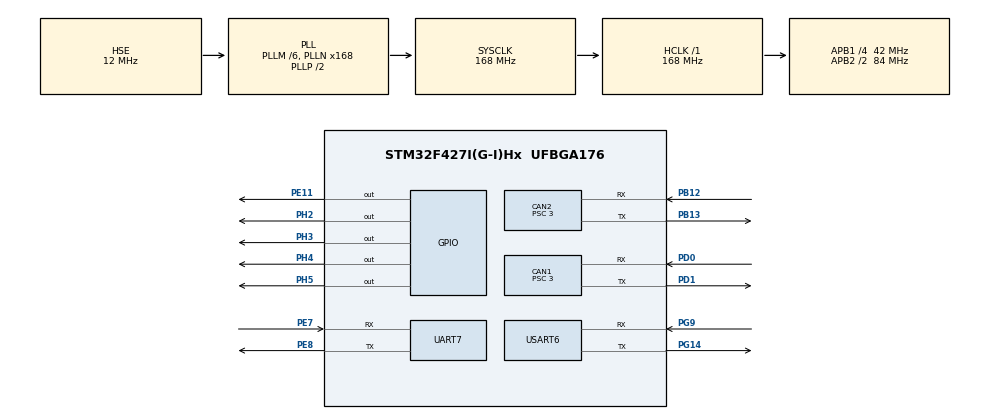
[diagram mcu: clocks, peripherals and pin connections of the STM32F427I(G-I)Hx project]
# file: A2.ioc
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CAN1.BS1=CAN_BS1_6TQ
CAN1.BS2=CAN_BS2_7TQ
CAN1.CalculateBaudRate=1000000
CAN1.CalculateTimeBit=999.99
CAN1.CalculateTimeQuantum=71.42857142857143
CAN1.Prescaler=3
CAN2.BS1=CAN_BS1_6TQ
CAN2.BS2=CAN_BS2_7TQ
CAN2.CalculateBaudRate=1000000
CAN2.CalculateTimeBit=999.99
CAN2.CalculateTimeQuantum=71.42857142857143
CAN2.Prescaler=3
FREERTOS.INCLUDE_vTaskDelayUntil=1
FREERTOS.Tasks01=State_Switch,3,128,task_state_switch,Default,NULL,Dynamic,NULL,NULL;Tarangle_Switch,2,128,task_tarangle_switch,Default,NULL,Dynamic,NULL,NULL;Data,2,128,task_process_transmit,Default,NULL,Dynamic,NULL,NULL
Mcu.Family=STM32F4
Mcu.Name=STM32F427I(G-I)Hx
Mcu.Package=UFBGA176
NVIC.CAN1_RX0_IRQn=true\:5\:0\:false\:false\:true\:true\:true\:true
NVIC.CAN1_TX_IRQn=true\:5\:0\:false\:false\:true\:true\:true\:true
NVIC.CAN2_RX0_IRQn=true\:5\:0\:false\:false\:true\:true\:true\:true
NVIC.CAN2_TX_IRQn=true\:5\:0\:false\:false\:true\:true\:true\:true
NVIC.PriorityGroup=NVIC_PRIORITYGROUP_4
NVIC.TIM6_DAC_IRQn=true\:15\:0\:false\:false\:true\:false\:false\:true
NVIC.TimeBase=TIM6_DAC_IRQn
NVIC.TimeBaseIP=TIM6
NVIC.UART7_IRQn=true\:5\:0\:false\:false\:true\:true\:true\:true
NVIC.USART6_IRQn=true\:6\:0\:true\:false\:true\:true\:true\:true
PA13.Mode=JTAG_5_pins
PA13.Signal=SYS_JTMS-SWDIO
PA14.Mode=JTAG_5_pins
PA14.Signal=SYS_JTCK-SWCLK
PA15.Mode=JTAG_5_pins
PA15.Signal=SYS_JTDI
PB12.Mode=CAN_Activate
PB12.Signal=CAN2_RX
PB13.Mode=CAN_Activate
PB13.Signal=CAN2_TX
PB3.Mode=JTAG_5_pins
PB3.Signal=SYS_JTDO-SWO
PB4.Mode=JTAG_5_pins
PB4.Signal=SYS_JTRST
PD0.Mode=CAN_Activate
PD0.Signal=CAN1_RX
PD1.Mode=CAN_Activate
PD1.Signal=CAN1_TX
PE11.Signal=GPIO_Output
PE7.Mode=Asynchronous
PE7.Signal=UART7_RX
PE8.Mode=Asynchronous
PE8.Signal=UART7_TX
PG14.Mode=Asynchronous
PG14.Signal=USART6_TX
PG9.Mode=Asynchronous
PG9.Signal=USART6_RX
PH0/OSC_IN.Mode=HSE-External-Oscillator
PH0/OSC_IN.Signal=RCC_OSC_IN
PH1/OSC_OUT.Mode=HSE-External-Oscillator
PH1/OSC_OUT.Signal=RCC_OSC_OUT
PH2.GPIO_PuPd=GPIO_PULLUP
PH2.PinState=GPIO_PIN_SET
PH2.Signal=GPIO_Output
PH3.GPIO_PuPd=GPIO_PULLUP
PH3.PinState=GPIO_PIN_SET
PH3.Signal=GPIO_Output
PH4.GPIO_PuPd=GPIO_PULLUP
PH4.PinState=GPIO_PIN_SET
PH4.Signal=GPIO_Output
PH5.GPIO_PuPd=GPIO_PULLUP
PH5.PinState=GPIO_PIN_SET
PH5.Signal=GPIO_Output
ProjectManager.HeapSize=0x200
ProjectManager.StackSize=0x400
ProjectManager.TargetToolchain=MDK-ARM V5.32
RCC.48MHZClocksFreq_Value=84000000
RCC.AHBFreq_Value=168000000
RCC.APB1CLKDivider=RCC_HCLK_DIV4
RCC.APB1Freq_Value=42000000
RCC.APB1TimFreq_Value=84000000
RCC.APB2CLKDivider=RCC_HCLK_DIV2
RCC.APB2Freq_Value=84000000
RCC.APB2TimFreq_Value=168000000
RCC.CortexFreq_Value=168000000
RCC.HCLKFreq_Value=168000000
RCC.HSE_VALUE=12000000
RCC.HSI_VALUE=16000000
RCC.LSE_VALUE=32768
RCC.PLLM=6
RCC.PLLN=168
RCC.PLLSourceVirtual=RCC_PLLSOURCE_HSE
RCC.SYSCLKFreq_VALUE=168000000
RCC.SYSCLKSource=RCC_SYSCLKSOURCE_PLLCLK
RCC.VCOOutputFreq_Value=336000000
UART7.VirtualMode=Asynchronous
USART6.VirtualMode=VM_ASYNC
VP_FREERTOS_VS_CMSIS_V1.Mode=CMSIS_V1
VP_SYS_VS_tim6.Mode=TIM6
board=custom

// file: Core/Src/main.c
/* USER CODE BEGIN Header */
/**
 ******************************************************************************
 * @file           : main.c
 * @brief          : Main program body
 ******************************************************************************
 * @attention
 *
 * <h2><center>&copy; Copyright (c) 2022 STMicroelectronics.
 * All rights reserved.</center></h2>
 *
 * This software component is licensed by ST under BSD 3-Clause license,
 * the "License"; You may not use this file except in compliance with the
 * License. You may obtain a copy of the License at:
 *                        opensource.org/licenses/BSD-3-Clause
 *
 ******************************************************************************
 */
/* USER CODE END Header */
#include "main.h"
#include "cmsis_os.h"
#include "can.h"
#include "usart.h"
#include "gpio.h"

/* USER CODE BEGIN Includes */
#include "pid_config.h"
#include "rotate.h"
/* USER CODE END Includes */

void SystemClock_Config(void);
void MX_FREERTOS_Init(void);

int main(void)
{

  /* MCU Configuration--------------------------------------------------------*/

  /* Reset of all peripherals, Initializes the Flash interface and the Systick. */
  HAL_Init();

  /* Configure the system clock */
  SystemClock_Config();

  /* Initialize all configured peripherals */
  MX_GPIO_Init();
  MX_CAN1_Init();
  MX_CAN2_Init();
  MX_USART6_UART_Init();
  MX_UART7_Init();
  /* USER CODE BEGIN 2 */
  can1_filterinit();
  can2_filterinit();
  pid_set();
  HAL_UART_Receive_IT(&huart7, &rx_state, sizeof(rx_state));
  /* USER CODE END 2 */

  /* Call init function for freertos objects (in freertos.c) */
  MX_FREERTOS_Init();
  /* Start scheduler */
  osKernelStart();

  /* We should never get here as control is now taken by the scheduler */
  /* Infinite loop */
  while (1) {

  }
}

void SystemClock_Config(void)
{
  RCC_OscInitTypeDef RCC_OscInitStruct = {0};
  RCC_ClkInitTypeDef RCC_ClkInitStruct = {0};

  /** Configure the main internal regulator output voltage
  */
  __HAL_RCC_PWR_CLK_ENABLE();
  __HAL_PWR_VOLTAGESCALING_CONFIG(PWR_REGULATOR_VOLTAGE_SCALE1);
  /** Initializes the RCC Oscillators according to the specified parameters
  * in the RCC_OscInitTypeDef structure.
  */
  RCC_OscInitStruct.OscillatorType = RCC_OSCILLATORTYPE_HSE;
  RCC_OscInitStruct.HSEState = RCC_HSE_ON;
  RCC_OscInitStruct.PLL.PLLState = RCC_PLL_ON;
  RCC_OscInitStruct.PLL.PLLSource = RCC_PLLSOURCE_HSE;
  RCC_OscInitStruct.PLL.PLLM = 6;
  RCC_OscInitStruct.PLL.PLLN = 168;
  RCC_OscInitStruct.PLL.PLLP = RCC_PLLP_DIV2;
  RCC_OscInitStruct.PLL.PLLQ = 4;
  if (HAL_RCC_OscConfig(&RCC_OscInitStruct) != HAL_OK)
  {
    Error_Handler();
  }
  /** Initializes the CPU, AHB and APB buses clocks
  */
  RCC_ClkInitStruct.ClockType = RCC_CLOCKTYPE_HCLK|RCC_CLOCKTYPE_SYSCLK
                              |RCC_CLOCKTYPE_PCLK1|RCC_CLOCKTYPE_PCLK2;
  RCC_ClkInitStruct.SYSCLKSource = RCC_SYSCLKSOURCE_PLLCLK;
  RCC_ClkInitStruct.AHBCLKDivider = RCC_SYSCLK_DIV1;
  RCC_ClkInitStruct.APB1CLKDivider = RCC_HCLK_DIV4;
  RCC_ClkInitStruct.APB2CLKDivider = RCC_HCLK_DIV2;

  if (HAL_RCC_ClockConfig(&RCC_ClkInitStruct, FLASH_LATENCY_5) != HAL_OK)
  {
    Error_Handler();
  }
}

void HAL_TIM_PeriodElapsedCallback(TIM_HandleTypeDef *htim)
{
  if (htim->Instance == TIM6) {
    HAL_IncTick();
  }
}

void Error_Handler(void)
{
  /* USER CODE BEGIN Error_Handler_Debug */
    /* User can add his own implementation to report the HAL error return state
     */
    __disable_irq();
    while (1) {
    }
  /* USER CODE END Error_Handler_Debug */
}

#ifdef  USE_FULL_ASSERT
/**
  * @brief  Reports the name of the source file and the source line number
  *         where the assert_param error has occurred.
  * @param  file: pointer to the source file name
  * @param  line: assert_param error line source number
  * @retval None
  */
void assert_failed(uint8_t *file, uint32_t line)
{
  /* USER CODE BEGIN 6 */
    /* User can add his own implementation to report the file name and line
       number, ex: printf("Wrong parameters value: file %s on line %d\r\n",
       file, line) */
  /* USER CODE END 6 */
}
#endif /* USE_FULL_ASSERT */

/************************ (C) COPYRIGHT STMicroelectronics *****END OF FILE****/

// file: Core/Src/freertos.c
/* USER CODE BEGIN Header */
/**
 ******************************************************************************
 * File Name          : freertos.c
 * Description        : Code for freertos applications
 ******************************************************************************
 * @attention
 *
 * <h2><center>&copy; Copyright (c) 2022 STMicroelectronics.
 * All rights reserved.</center></h2>
 *
 * This software component is licensed by ST under Ultimate Liberty license
 * SLA0044, the "License"; You may not use this file except in compliance with
 * the License. You may obtain a copy of the License at:
 *                             www.st.com/SLA0044
 *
 ******************************************************************************
 */
/* USER CODE END Header */

#include "FreeRTOS.h"
#include "task.h"
#include "main.h"
#include "cmsis_os.h"

/* USER CODE BEGIN Includes */
#include "motor.h"
#include "rotate.h"
#include "usart.h"
/* USER CODE END Includes */

/* USER CODE BEGIN PTD */
uint8_t state_flag = 0;
float a, b;
/* USER CODE END PTD */

osThreadId State_SwitchHandle;
osThreadId Tarangle_SwitchHandle;
osThreadId DataHandle;

void task_state_switch(void const * argument);
void task_tarangle_switch(void const * argument);
void task_process_transmit(void const * argument);

void MX_FREERTOS_Init(void); /* (MISRA C 2004 rule 8.1) */

/* GetIdleTaskMemory prototype (linked to static allocation support) */
void vApplicationGetIdleTaskMemory( StaticTask_t **ppxIdleTaskTCBBuffer, StackType_t **ppxIdleTaskStackBuffer, uint32_t *pulIdleTaskStackSize );

/* USER CODE BEGIN GET_IDLE_TASK_MEMORY */
static StaticTask_t xIdleTaskTCBBuffer;
static StackType_t xIdleStack[configMINIMAL_STACK_SIZE];

void vApplicationGetIdleTaskMemory(StaticTask_t **ppxIdleTaskTCBBuffer,
                                   StackType_t **ppxIdleTaskStackBuffer,
                                   uint32_t *pulIdleTaskStackSize) {
    *ppxIdleTaskTCBBuffer = &xIdleTaskTCBBuffer;
    *ppxIdleTaskStackBuffer = &xIdleStack[0];
    *pulIdleTaskStackSize = configMINIMAL_STACK_SIZE;
    /* place for user code */
}
/* USER CODE END GET_IDLE_TASK_MEMORY */

void MX_FREERTOS_Init(void) {

  /* Create the thread(s) */
  /* definition and creation of State_Switch */
  osThreadDef(State_Switch, task_state_switch, osPriorityRealtime, 0, 128);
  State_SwitchHandle = osThreadCreate(osThread(State_Switch), NULL);

  /* definition and creation of Tarangle_Switch */
  osThreadDef(Tarangle_Switch, task_tarangle_switch, osPriorityHigh, 0, 128);
  Tarangle_SwitchHandle = osThreadCreate(osThread(Tarangle_Switch), NULL);

  /* definition and creation of Data */
  osThreadDef(Data, task_process_transmit, osPriorityHigh, 0, 128);
  DataHandle = osThreadCreate(osThread(Data), NULL);

}

void task_state_switch(void const * argument)
{
  /* USER CODE BEGIN task_state_switch */
    /* Infinite loop */
    for (;;) {
        state_flag = rx_state;
        cnt = 0;
		osDelay(4500);
    }
  /* USER CODE END task_state_switch */
}

void task_tarangle_switch(void const * argument)
{
  /* USER CODE BEGIN task_tarangle_switch */
    /* 每隔50ms目标角度切换一次 */
    /* Infinite loop */
    for (;;) {
		taskENTER_CRITICAL();

        switch (state_flag) {
            case 1:
            case 3:
                tarangle_switch(&traj1[0]);
                break;
            case 2:
                tarangle_switch(&traj2[0]);
                break;
        }

		taskEXIT_CRITICAL();
        osDelay(50);
    }
  /* USER CODE END task_tarangle_switch */
}

void task_process_transmit(void const * argument)
{
  /* USER CODE BEGIN task_process_transmit */
  /* Infinite loop */
  for(;;)
  {
	 taskENTER_CRITICAL();

	 for (int i = 0; i < 9; i++) {
          data_process(&angle_data[i], &motor_2006[i]);
     }
	 output_transmit();
	 a = motor_2006[1].rx_data.continuous_angle;
	 b = motor_2006[1].tarangle;

	 taskEXIT_CRITICAL();
	 osDelay(1);
  }
  /* USER CODE END task_process_transmit */
}

/************************ (C) COPYRIGHT STMicroelectronics *****END OF FILE****/
